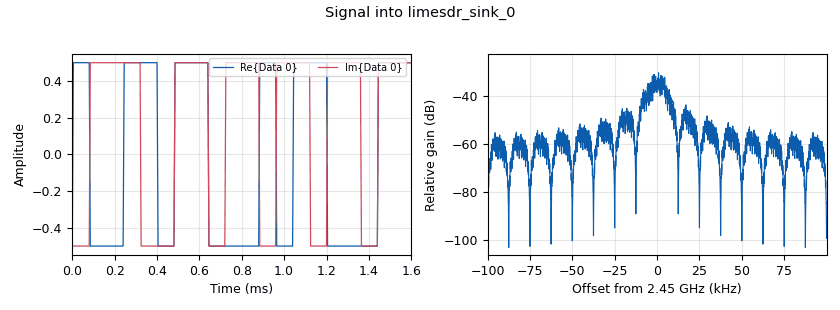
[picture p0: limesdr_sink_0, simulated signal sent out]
<?xml version='1.0' encoding='utf-8'?>
<?grc format='1' created='3.7.13'?>
<flow_graph>
<block>
<key>options</key>
<param><key>id</key><value>top_block</value></param>
<param><key>generate_options</key><value>qt_gui</value></param>
</block>
<block>
<key>variable</key>
<param><key>id</key><value>samp_rate</value></param>
<param><key>value</key><value>200000</value></param>
</block>
<block>
<key>analog_random_source_x</key>
<param><key>id</key><value>analog_random_source_x_0</value></param>
<param><key>max</key><value>2</value></param>
<param><key>min</key><value>0</value></param>
<param><key>num_samps</key><value>1000</value></param>
<param><key>type</key><value>int</value></param>
<param><key>repeat</key><value>True</value></param>
</block>
<block>
<key>analog_random_source_x</key>
<param><key>id</key><value>analog_random_source_x_0_0</value></param>
<param><key>max</key><value>2</value></param>
<param><key>min</key><value>0</value></param>
<param><key>num_samps</key><value>1000</value></param>
<param><key>type</key><value>int</value></param>
<param><key>repeat</key><value>True</value></param>
</block>
<block>
<key>blocks_add_const_vxx</key>
<param><key>id</key><value>blocks_add_const_vxx_0</value></param>
<param><key>const</key><value>-0.5-0.5j</value></param>
<param><key>type</key><value>complex</value></param>
</block>
<block>
<key>blocks_float_to_complex</key>
<param><key>id</key><value>blocks_float_to_complex_0</value></param>
</block>
<block>
<key>blocks_int_to_float</key>
<param><key>id</key><value>blocks_int_to_float_0</value></param>
<param><key>scale</key><value>1</value></param>
</block>
<block>
<key>blocks_int_to_float</key>
<param><key>id</key><value>blocks_int_to_float_0_0</value></param>
<param><key>scale</key><value>1</value></param>
</block>
<block>
<key>blocks_repeat</key>
<param><key>id</key><value>blocks_repeat_0</value></param>
<param><key>interp</key><value>16</value></param>
<param><key>type</key><value>complex</value></param>
</block>
<block>
<key>limesdr_sink</key>
<param><key>id</key><value>limesdr_sink_0</value></param>
<param><key>allow_tcxo_dac</key><value>0</value></param>
<param><key>calibr_bandw_ch0</key><value>5e6</value></param>
<param><key>calibr_bandw_ch1</key><value>5e6</value></param>
<param><key>channel_mode</key><value>0</value></param>
<param><key>dacVal</key><value>125</value></param>
<param><key>digital_bandw_ch0</key><value>0</value></param>
<param><key>digital_bandw_ch1</key><value>0</value></param>
<param><key>gain_dB_ch0</key><value>50</value></param>
<param><key>gain_dB_ch1</key><value>30</value></param>
<param><key>oversample</key><value>0</value></param>
<param><key>pa_path_ch1</key><value>1</value></param>
<param><key>rf_freq</key><value>2450.0e6</value></param>
<param><key>samp_rate</key><value>samp_rate</value></param>
</block>
<connection><source_block_id>analog_random_source_x_0</source_block_id><sink_block_id>blocks_int_to_float_0</sink_block_id><source_key>0</source_key><sink_key>0</sink_key></connection>
<connection><source_block_id>analog_random_source_x_0_0</source_block_id><sink_block_id>blocks_int_to_float_0_0</sink_block_id><source_key>0</source_key><sink_key>0</sink_key></connection>
<connection><source_block_id>blocks_add_const_vxx_0</source_block_id><sink_block_id>blocks_repeat_0</sink_block_id><source_key>0</source_key><sink_key>0</sink_key></connection>
<connection><source_block_id>blocks_float_to_complex_0</source_block_id><sink_block_id>blocks_add_const_vxx_0</sink_block_id><source_key>0</source_key><sink_key>0</sink_key></connection>
<connection><source_block_id>blocks_int_to_float_0</source_block_id><sink_block_id>blocks_float_to_complex_0</sink_block_id><source_key>0</source_key><sink_key>0</sink_key></connection>
<connection><source_block_id>blocks_int_to_float_0_0</source_block_id><sink_block_id>blocks_float_to_complex_0</sink_block_id><source_key>0</source_key><sink_key>1</sink_key></connection>
<connection><source_block_id>blocks_repeat_0</source_block_id><sink_block_id>limesdr_sink_0</sink_block_id><source_key>0</source_key><sink_key>0</sink_key></connection>
</flow_graph>
